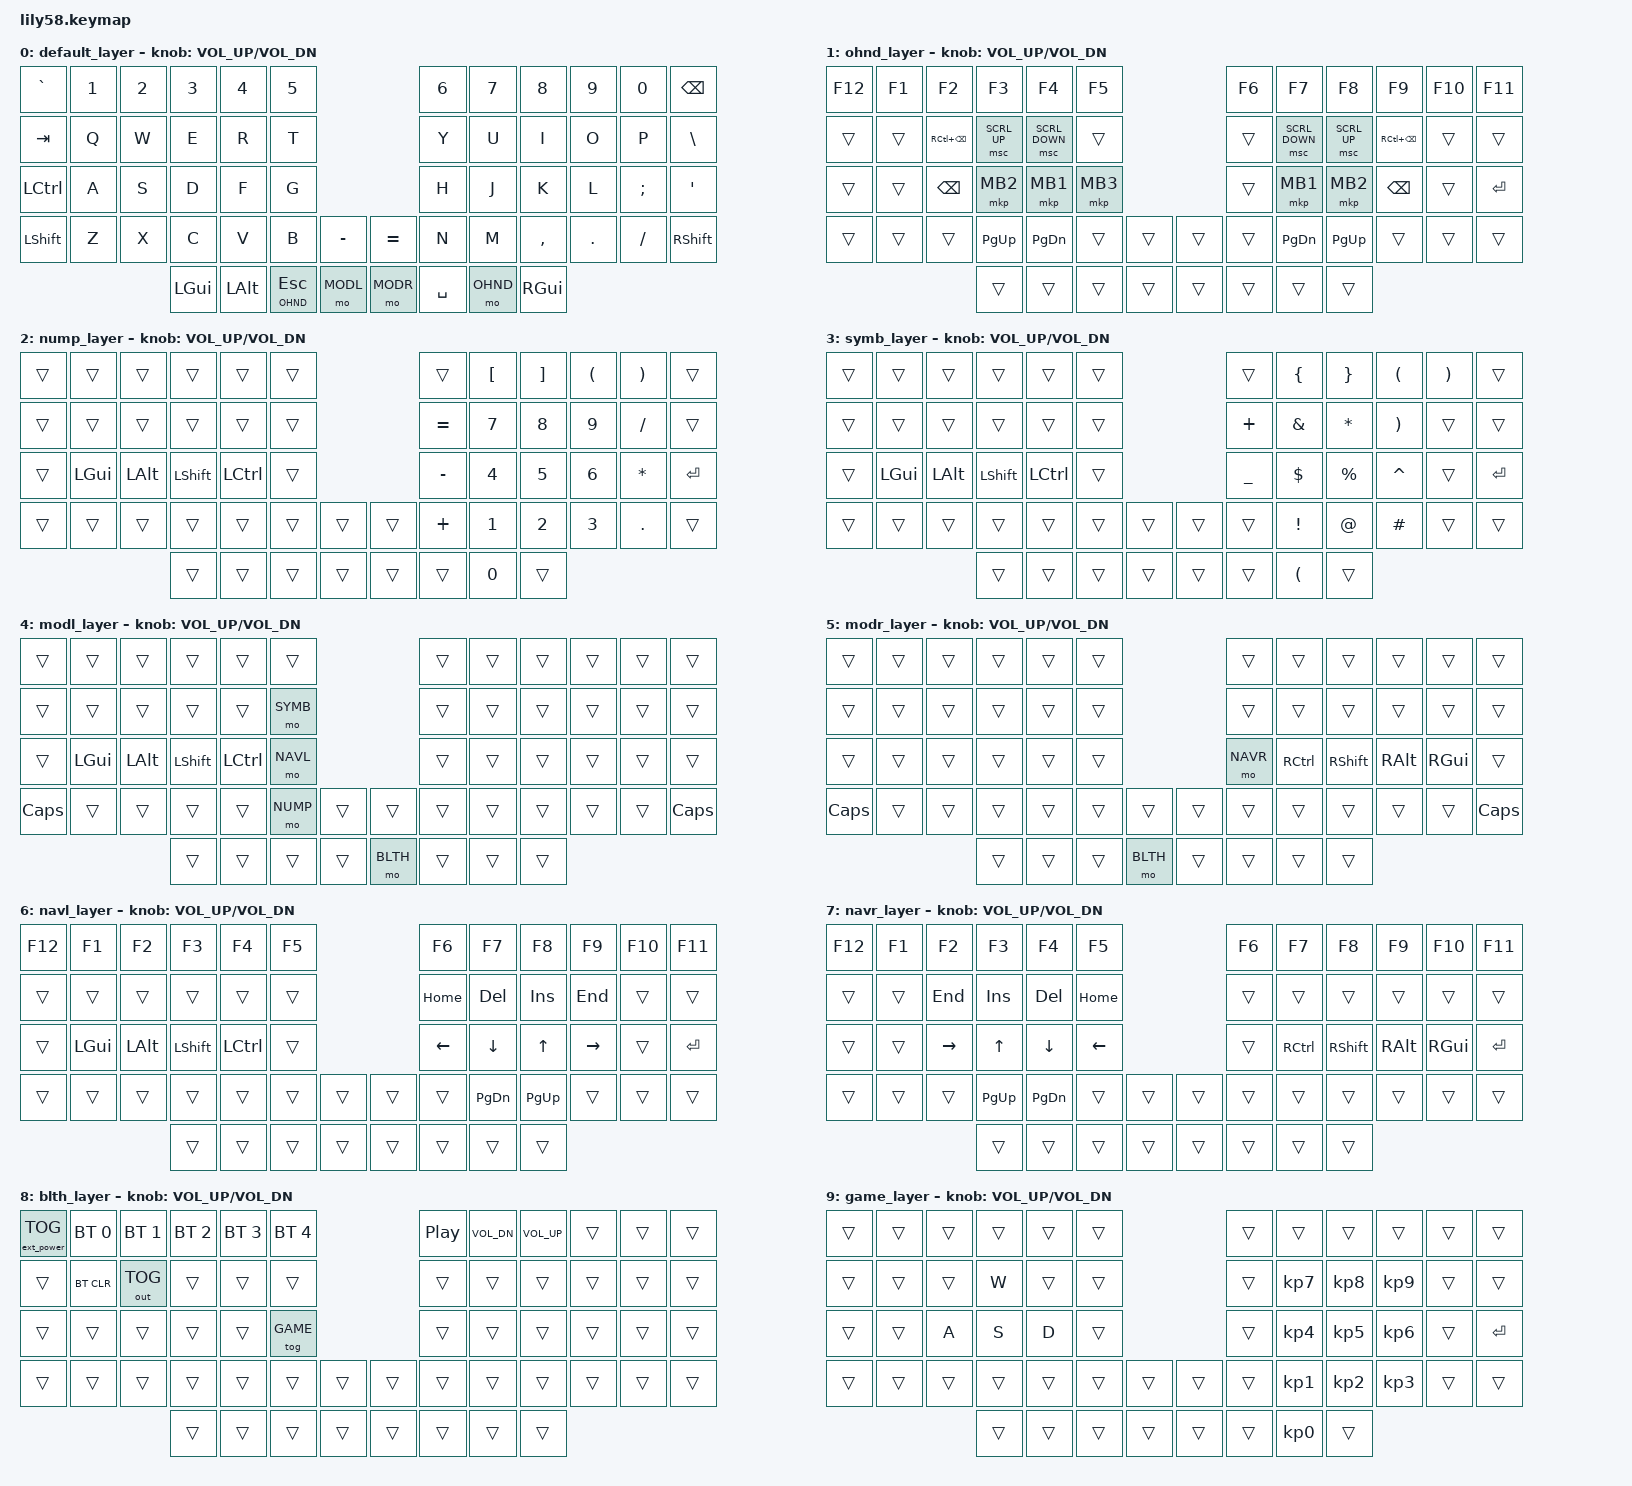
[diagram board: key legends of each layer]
/*
 * Copyright (c) 2020 The ZMK Contributors
 *
 * SPDX-License-Identifier: MIT
 */

#include <behaviors.dtsi>
#include <dt-bindings/zmk/keys.h>
#include <dt-bindings/zmk/bt.h>
#include <dt-bindings/zmk/ext_power.h>
#include <dt-bindings/zmk/pointing.h>
#include <dt-bindings/zmk/outputs.h>

#define ZMK_POINTING_DEFAULT_SCRL_VAL 40

#define DEFAULT 0
#define OHND    1
#define NUMP    2
#define SYMB    3
#define MODL    4
#define MODR    5
#define NAVL    6
#define NAVR    7
#define BLTH    8
#define GAME    9

/ {
    keymap {
        compatible = "zmk,keymap";

        default_layer {
// ------------------------------------------------------------------------------------------------------------
// |   `   |  1  |  2  |  3   |  4   |  5   |                   |  6   |  7    |  8    |  9   |   0   | BSPC  |
// |  TAB  |  Q  |  W  |  E   |  R   |  T   |                   |  Y   |  U    |  I    |  O   |   P   |   \   |
// |  CTRL |  A  |  S  |  D   |  F   |  G   |                   |  H   |  J    |  K    |  L   |   ;   |   '   |
// | SHIFT |  Z  |  X  |  C   |  V   |  B   |  -     |  | =     |  N   |  M    |  ,    |  .   |   /   | SHIFT |
//                     | GUI  | ALT  |ESC/OHND| MODL |  | MODR  | SPACE | OHND  | GUI   |
            bindings = <
&kp GRAVE &kp N1 &kp N2 &kp N3   &kp N4   &kp N5                               &kp N6    &kp N7    &kp N8    &kp N9  &kp N0   &kp BSPC
&kp TAB   &kp Q  &kp W  &kp E    &kp R    &kp T                                &kp Y     &kp U     &kp I     &kp O   &kp P    &kp BSLH
&kp LCTRL &kp A  &kp S  &kp D    &kp F    &kp G                                &kp H     &kp J     &kp K     &kp L   &kp SEMI &kp SQT
&kp LSHFT &kp Z  &kp X  &kp C    &kp V    &kp B         &kp MINUS   &kp EQUAL  &kp N     &kp M     &kp COMMA &kp DOT &kp FSLH &kp RSHFT
                        &kp LGUI &kp LALT &lt OHND ESC  &mo MODL    &mo MODR   &kp SPACE &mo OHND &kp RGUI
            >;

            sensor-bindings = <&inc_dec_kp C_VOL_UP C_VOL_DN>;
        };

        ohnd_layer {
// ----------------------------------------------------------------------------------------------------------------------------------------------
// |  F12  |  F1  |  F2        |  F3     |  F4         |  F5   |                   |  F6     |  F7     |  F8       |  F9        |  F10  |  F11  |
// |       |      |  RC BSPC   | SCRL_UP |  SCRL_DOWN  |       |                   |         |SCRL_DOWN|  SCRL_UP  |  RC BSPC   |       |       |
// |       |      |  BSPC      |  MB2    |  MB1        |  MB3  |                   |         |  MB1    |  MB2      |  BSPC      |       | ENTER |
// |       |      |            |  PG_UP  |  PG_DN      |       |        |  |       |         |  PG_DN  |  PG_UP    |            |       |       |
//                             |         |             |       |        |  |       |         |         |           |
            bindings = <
&kp F12  &kp F1  &kp F2         &kp F3        &kp F4          &kp F5                       &kp F6     &kp F7          &kp F8        &kp F9        &kp F10  &kp F11
&trans   &trans  &kp RC(BSPC)   &msc SCRL_UP  &msc SCRL_DOWN  &trans                       &trans     &msc SCRL_DOWN  &msc SCRL_UP  &kp RC(BSPC)  &trans   &trans
&trans   &trans  &kp BSPC       &mkp MB2      &mkp MB1        &mkp MB3                     &trans     &mkp MB1        &mkp MB2      &kp BSPC      &trans   &kp ENTER
&trans   &trans  &trans         &kp PG_UP     &kp PG_DN       &trans    &trans   &trans    &trans     &kp PG_DN       &kp PG_UP     &trans        &trans   &trans
                                &trans        &trans          &trans    &trans   &trans    &trans     &trans          &trans
            >;

            sensor-bindings = <&inc_dec_kp C_VOL_UP C_VOL_DN>;
        };

        nump_layer {
// TODO put mods on the other side
// ------------------------------------------------------------------------------------------------------------------
// |       |     |      |      |      |      |                   |         |   [   |   ]   |  (   |   )   |         |
// |       |     |      |      |      |      |                   |  =      |   7   |   8   |  9   |   /   |         |
// |       |     | mods |      |      |      |                   |  -      |   4   |   5   |  6   |   *   |  ENTER  |
// |       |     |      |      |      |      |        |  |       |  +      |   1   |   2   |  3   |   .   |         |
//                      |      |      |      |        |  |       |         |   0   |       |
            bindings = <
&trans &trans    &trans    &trans      &trans     &trans                      &trans     &kp LBKT  &kp RBKT  &kp LPAR  &kp RPAR  &trans
&trans &trans    &trans    &trans      &trans     &trans                      &kp EQUAL  &kp N7    &kp N8    &kp N9    &kp FSLH  &trans
&trans &kp LGUI  &kp LALT  &kp LSHIFT  &kp LCTRL  &trans                      &kp MINUS  &kp N4    &kp N5    &kp N6    &kp STAR  &kp ENTER
&trans &trans    &trans    &trans      &trans     &trans   &trans   &trans    &kp PLUS   &kp N1    &kp N2    &kp N3    &kp DOT   &trans
                           &trans      &trans     &trans   &trans   &trans    &trans     &kp N0    &trans
            >;

            sensor-bindings = <&inc_dec_kp C_VOL_UP C_VOL_DN>;
        };

        symb_layer {
// TODO put mods on the other side
// ------------------------------------------------------------------------------------------------------------------
// |       |     |      |      |      |      |                   |         |   {   |   }   |  (   |   )   |         |
// |       |     |      |      |      |      |                   |  +      |   &   |   *   |  )   |       |         |
// |       |     | mods |      |      |      |                   |  _      |   $   |   %   |  ^   |       |  ENTER  |
// |       |     |      |      |      |      |        |  |       |         |   !   |   @   |  #   |       |         |
//                      |      |      |      |        |  |       |         |   (   |       |
            bindings = <
&trans &trans    &trans    &trans      &trans     &trans                      &trans     &kp LBRC  &kp RBRC   &kp LPAR  &kp RPAR  &trans
&trans &trans    &trans    &trans      &trans     &trans                      &kp PLUS   &kp AMPS  &kp STAR   &kp RPAR  &trans    &trans
&trans &kp LGUI  &kp LALT  &kp LSHIFT  &kp LCTRL  &trans                      &kp UNDER  &kp DLLR  &kp PRCNT  &kp CARET &trans    &kp ENTER
&trans &trans    &trans    &trans      &trans     &trans   &trans   &trans    &trans     &kp EXCL  &kp AT     &kp HASH  &trans    &trans
                           &trans      &trans     &trans   &trans   &trans    &trans     &kp LPAR  &trans
            >;

            sensor-bindings = <&inc_dec_kp C_VOL_UP C_VOL_DN>;
        };

        modl_layer {
// -----------------------------------------------------------------------------------------------------------------------
// |       |       |       |         |        |        |                   |      |       |       |      |       |       |
// |       |       |       |         |        |  SYM   |                   |      |       |       |      |       |       |
// |       |  GUI  |  ALT  |  SHIFT  |  CTRL  |  NAVL  |                   |      |       |       |      |       |       |
// | CAPS  |       |       |         |        |  NUMP  |        |  |       |      |       |       |      |       | CAPS  |
//                         |         |        |        |        |  | BLTH  |      |       |       |
            bindings = <
&trans    &trans    &trans    &trans      &trans     &trans                       &trans  &trans  &trans  &trans  &trans  &trans
&trans    &trans    &trans    &trans      &trans     &mo SYMB                     &trans  &trans  &trans  &trans  &trans  &trans
&trans    &kp LGUI  &kp LALT  &kp LSHIFT  &kp LCTRL  &mo NAVL                     &trans  &trans  &trans  &trans  &trans  &trans
&kp CAPS  &trans    &trans    &trans      &trans     &mo NUMP  &trans   &trans    &trans  &trans  &trans  &trans  &trans  &kp CAPS
                              &trans      &trans     &trans    &trans   &mo BLTH  &trans  &trans  &trans
            >;

            sensor-bindings = <&inc_dec_kp C_VOL_UP C_VOL_DN>;
        };

        modr_layer {
// ----------------------------------------------------------------------------------------------------------------------------
// |       |       |       |        |        |        |                   |        |        |         |       |       |       |
// |       |       |       |        |        |        |                   |        |        |         |       |       |       |
// |       |       |       |        |        |        |                   |  NAVR  |  CTRL  |  SHIFT  |  ALT  |  GUI  |       |
// | CAPS  |       |       |        |        |        |        |  |       |        |        |         |       |       | CAPS  |
//                         |        |        |        |  BLTH  |  |       |        |        |         |
            bindings = <
&trans    &trans  &trans  &trans  &trans  &trans                         &trans    &trans    &trans      &trans    &trans    &trans
&trans    &trans  &trans  &trans  &trans  &trans                         &trans    &trans    &trans      &trans    &trans    &trans
&trans    &trans  &trans  &trans  &trans  &trans                         &mo NAVR  &kp RCTRL &kp RSHIFT  &kp RALT  &kp RGUI  &trans
&kp CAPS  &trans  &trans  &trans  &trans  &trans    &trans     &trans    &trans    &trans    &trans      &trans    &trans    &kp CAPS
                          &trans  &trans  &trans    &mo BLTH   &trans    &trans    &trans    &trans
            >;

            sensor-bindings = <&inc_dec_kp C_VOL_UP C_VOL_DN>;
        };

        navl_layer {
// -----------------------------------------------------------------------------------------------------------------------
// |  Fs     |     |     |      |      |      |                   |        |         |         |         |       |       |
// |         |     |     |      |      |      |                   |  HOME  |  DEL    |  INS    |  END    |       |       |
// |         |     |     |      |      |      |                   |  LEFT  |  DOWN   |  UP     |  RIGHT  |       | ENTER |
// |         |     |     |      |      |      |        |  |       |        |  PG_DN  |  PG_UP  |         |       |       |
//                       |      |      |      |        |  |       |        |         |         |
            bindings = <
&kp F12  &kp F1    &kp F2    &kp F3      &kp F4     &kp F5                      &kp F6    &kp F7     &kp F8     &kp F9     &kp F10  &kp F11
&trans   &trans    &trans    &trans      &trans     &trans                      &kp HOME  &kp DEL    &kp INS    &kp END    &trans   &trans
&trans   &kp LGUI  &kp LALT  &kp LSHIFT  &kp LCTRL  &trans                      &kp LEFT  &kp DOWN   &kp UP     &kp RIGHT  &trans   &kp ENTER
&trans   &trans    &trans    &trans      &trans     &trans   &trans   &trans    &trans    &kp PG_DN  &kp PG_UP  &trans     &trans   &trans
                             &trans      &trans     &trans   &trans   &trans    &trans    &trans     &trans
            >;

            sensor-bindings = <&inc_dec_kp C_VOL_UP C_VOL_DN>;
        };

        navr_layer {
// -----------------------------------------------------------------------------------------------------------------------
// |  Fs   |     |         |         |         |        |                   |       |       |       |      |     |       |
// |       |     |  END    |  INS    |  DEL    |  HOME  |                   |       |       |       |      |     |       |
// |       |     |  RIGHT  |  UP     |  DOWN   |  LEFT  |                   |       |       |       |      |     | ENTER |
// |       |     |         |  PG_UP  |  PG_DN  |        |        |  |       |       |       |       |      |     |       |
//                         |         |         |        |        |  |       |       |       |       |
            bindings = <
&kp F12 &kp F1  &kp F2     &kp F3     &kp F4     &kp F5                     &kp F6  &kp F7     &kp F8      &kp F9    &kp F10   &kp F11
&trans  &trans  &kp END    &kp INS    &kp DEL    &kp HOME                   &trans  &trans     &trans      &trans    &trans    &trans
&trans  &trans  &kp RIGHT  &kp UP     &kp DOWN   &kp LEFT                   &trans  &kp RCTRL  &kp RSHIFT  &kp RALT  &kp RGUI  &kp ENTER
&trans  &trans  &trans     &kp PG_UP  &kp PG_DN  &trans    &trans   &trans  &trans  &trans     &trans      &trans    &trans    &trans
                           &trans     &trans     &trans    &trans   &trans  &trans  &trans     &trans
            >;

            sensor-bindings = <&inc_dec_kp C_VOL_UP C_VOL_DN>;
        };

        blth_layer {
// --------------------------------------------------------------------------------------------------------------------------------
// | EXT PWR TOGGLE | BT1     | BT2    |  BT3 |  BT4  |  BT5 |                    | PLAY | VOL_DN | VOL_UP |      |       |       |
// |                | BT_CLR  | OUT_TG |      |       |      |                    |      |        |        |      |       |       |
// |                |         |        |      |       |  GME |                    |      |        |        |      |       |       |
// |                |         |        |      |       |      |       |  |         |      |        |        |      |       |       |
//                                     |      |       |      |       |  |         |      |        |        |
            bindings = <
    &ext_power EP_TOG &bt BT_SEL 0  &bt BT_SEL 1   &bt BT_SEL 2  &bt BT_SEL 3  &bt BT_SEL 4                       &kp C_PLAY_PAUSE  &kp C_VOL_DN  &kp C_VOL_UP  &trans  &trans  &trans
    &trans            &bt BT_CLR    &out OUT_TOG   &trans        &trans        &trans                             &trans    &trans   &trans    &trans  &trans  &trans
    &trans            &trans        &trans         &trans        &trans        &tog GAME                          &trans    &trans   &trans    &trans  &trans  &trans
    &trans            &trans        &trans         &trans        &trans        &trans         &trans    &trans    &trans    &trans   &trans    &trans  &trans  &trans
                                                   &trans        &trans        &trans         &trans    &trans    &trans    &trans   &trans    
            >;

            sensor-bindings = <&inc_dec_kp C_VOL_UP C_VOL_DN>;
        };


        game_layer {
// Toggled on and off with BLTH + G (hold both inner thumbs, tap G).
// Shows what each key sends while GAME is on: keys marked * are set here, the rest pass through to DEFAULT.
// WASD sits on the ESDF positions, so the left hand stays on the home row.
// ------------------------------------------------------------------------------------------------------------
// |   `   |  1  |  2  |  3   |  4   |  5   |                   |  6   |  7    |  8    |  9   |   0   | BSPC  |
// |  TAB  |  Q  |  W  |  W*  |  R   |  T   |                   |  Y   |  KP7* |  KP8* | KP9* |   P   |   \   |
// |  CTRL |  A  |  A* |  S*  |  D*  |  G   |                   |  H   |  KP4* |  KP5* | KP6* |   ;   | ENTER*|
// | SHIFT |  Z  |  X  |  C   |  V   |  B   |  -     |  | =     |  N   |  KP1* |  KP2* | KP3* |   /   | SHIFT |
//                     | GUI  | ALT  |ESC/OHND| MODL |  | MODR  | SPACE | KP0*  | GUI   |
            bindings = <
&trans &trans    &trans    &trans      &trans     &trans                       &trans  &trans     &trans     &trans     &trans  &trans
&trans &trans    &trans    &kp W       &trans     &trans                       &trans  &kp KP_N7  &kp KP_N8  &kp KP_N9  &trans  &trans
&trans &trans    &kp A     &kp S       &kp D      &trans                       &trans  &kp KP_N4  &kp KP_N5  &kp KP_N6  &trans  &kp ENTER
&trans &trans    &trans    &trans      &trans     &trans    &trans   &trans    &trans  &kp KP_N1  &kp KP_N2  &kp KP_N3  &trans  &trans
                           &trans      &trans     &trans    &trans   &trans    &trans  &kp KP_N0  &trans
            >;

            sensor-bindings = <&inc_dec_kp C_VOL_UP C_VOL_DN>;
        };


    };
};
